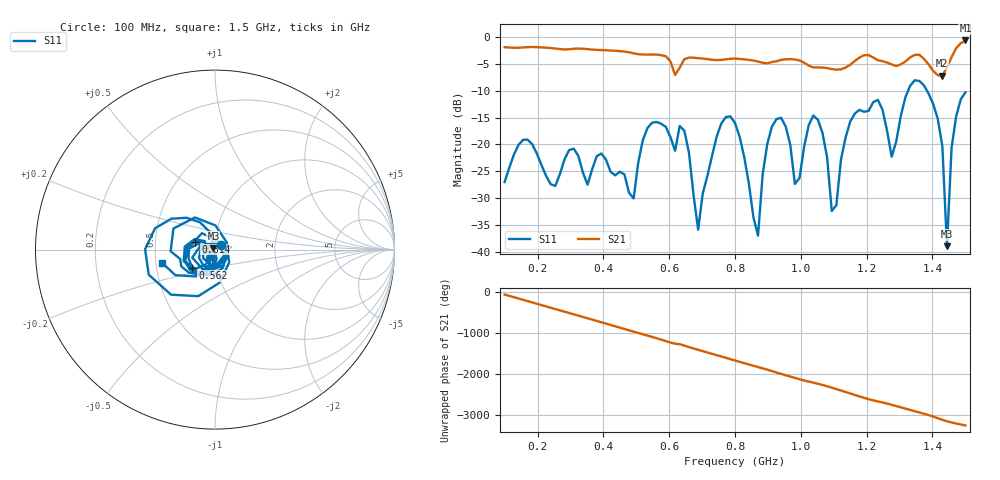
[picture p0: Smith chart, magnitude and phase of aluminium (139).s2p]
! NanoVNA-App
! Date: 2025-09-25 14:56:21
! Start: 100MHz Stop: 1,5GHz Points: 101
! S-Parameter data: F S11 S21 S12 S22
# Hz S RI R 50
!  Frequency  S11_Real  S11_Imag  S21_Real  S21_Imag  S12_Real  S12_Imag  S22_Real  S22_Imag
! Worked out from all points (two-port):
!   101 points, 100 MHz to 1.5 GHz, reference 50 ohm
!   highest |S21| = -0.67 dB at 1.5 GHz (marker M1); lowest = -7.2 dB at 1.43 GHz (marker M2)
!   |S21| within 3 dB of the highest: start of sweep to 590.8 MHz; 1.459 GHz to end of sweep (the widest 2 of 4)
!   lowest |S11| = -38.9 dB at 1.444 GHz (marker M3), VSWR 1.02, Z = 49.1 + j0.717 ohm
!   |S11| at or under -10 dB: start of sweep to 1.326 GHz; 1.383 GHz to end of sweep
!   S12 and S22 are empty: the file has one direction only
!   S11 on the Smith chart (normalised r, x): 100 MHz: 1.07, +0.06; 562 MHz: 0.76, -0.16; 814 MHz: 0.80, +0.07; 1.5 GHz: 0.54, -0.09
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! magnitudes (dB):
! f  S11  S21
! 100 MHz  -27.0  -1.9
! 338 MHz  -25.2  -2.2
! 492 MHz  -30.0  -3.1
! 562 MHz  -15.8  -3.3
! 576 MHz  -16.2  -3.4
! 646 MHz  -17.4  -4.2
! 688 MHz  -35.8  -4.0
! 800 MHz  -16.0  -4.0
! 814 MHz  -18.6  -4.1
! 870 MHz  -37.0  -4.6
! 912 MHz  -16.7  -4.7
! 982 MHz  -27.3  -4.2
! 1.038 GHz  -14.6  -5.7
! 1.094 GHz  -32.4  -6.0
! 1.164 GHz  -14.3  -4.5
! 1.234 GHz  -11.7  -4.3
! 1.276 GHz  -22.3  -5.1
! 1.346 GHz  -8.1  -3.4
! 1.43 GHz  -20.3  -7.2
! 1.444 GHz  -38.9  -5.7
! 1.458 GHz  -20.6  -3.8
! 1.5 GHz  -10.3  -0.7
